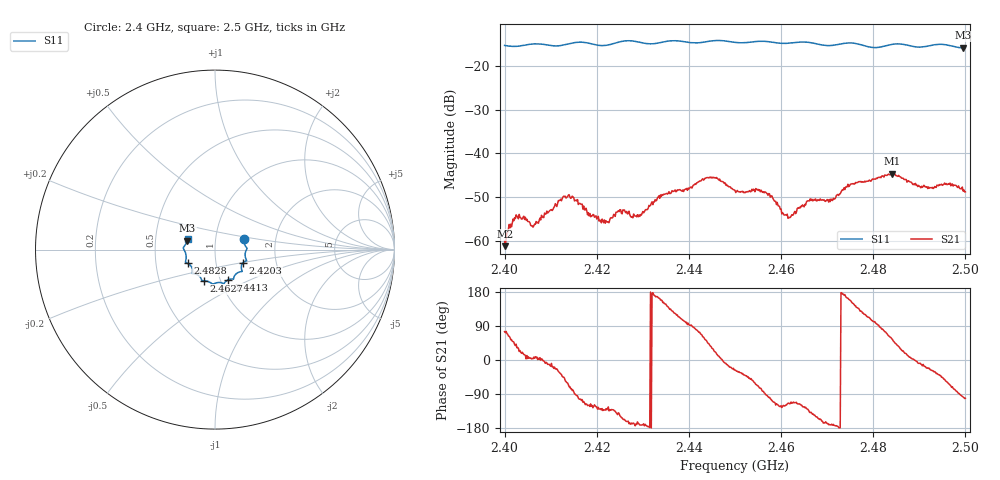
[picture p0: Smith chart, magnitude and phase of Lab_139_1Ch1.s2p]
# Hz S RI R 50
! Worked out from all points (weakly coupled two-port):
!   601 points, 2.4 GHz to 2.5 GHz, reference 50 ohm
!   highest |S21| = -44.61 dB at 2.484 GHz (marker M1); lowest = -61.2 dB at 2.4002 GHz (marker M2)
!   lowest |S11| = -15.8 dB at 2.4995 GHz (marker M3), VSWR 1.39, Z = 36.5 + j3.76 ohm
!   |S11| at or under -10 dB: start of sweep to end of sweep
!   S12 and S22 are empty: the file has one direction only
!   S11 on the Smith chart (normalised r, x): 2.4 GHz: 1.37, +0.17; 2.4203 GHz: 1.35, -0.20; 2.4413 GHz: 1.09, -0.38; 2.4627 GHz: 0.83, -0.30; 2.4828 GHz: 0.73, -0.11; 2.5 GHz: 0.73, +0.09
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2.4e9  0.1616 0.0584  0.000261 0.000964  0 0  0 0
2.400167e9  0.1614 0.0569  0.000266 0.00083  0 0  0 0
2.402667e9  0.1652 0.0294  0.00161 0.00101  0 0  0 0
2.406167e9  0.1781 0.0087  0.00144 8.36e-05  0 0  0 0
2.412667e9  0.1686 -0.0384  0.00225 -0.00225  0 0  0 0
2.416667e9  0.1762 -0.0622  -0.000766 -0.00251  0 0  0 0
2.420333e9  0.1561 -0.0733  -0.0011 -0.00156  0 0  0 0
2.429167e9  0.1409 -0.1234  -0.00194 -0.000389  0 0  0 0
2.433333e9  0.1077 -0.1479  -0.00307 0.000845  0 0  0 0
2.441333e9  0.0751 -0.1672  0.000546 0.00447  0 0  0 0
2.4455e9  0.0505 -0.1881  0.00486 0.00203  0 0  0 0
2.45e9  0.0304 -0.1836  0.00339 -0.00167  0 0  0 0
2.456167e9  -0.013 -0.1909  0.000457 -0.00363  0 0  0 0
2.460667e9  -0.0441 -0.1758  -0.00102 -0.00169  0 0  0 0
2.462667e9  -0.0616 -0.174  -0.000718 -0.00186  0 0  0 0
2.466667e9  -0.0744 -0.1682  -0.00231 -0.00192  0 0  0 0
2.470833e9  -0.0992 -0.1397  -0.00298 -0.000469  0 0  0 0
2.482833e9  -0.1529 -0.0767  0.00179 0.00532  0 0  0 0
2.483333e9  -0.1565 -0.075  0.00256 0.00522  0 0  0 0
2.484e9  -0.1603 -0.0736  0.00327 0.00489  0 0  0 0
2.4995e9  -0.1535 0.0502  -0.000479 -0.00368  0 0  0 0
2.5e9  -0.1518 0.0572  -0.000709 -0.00358  0 0  0 0
